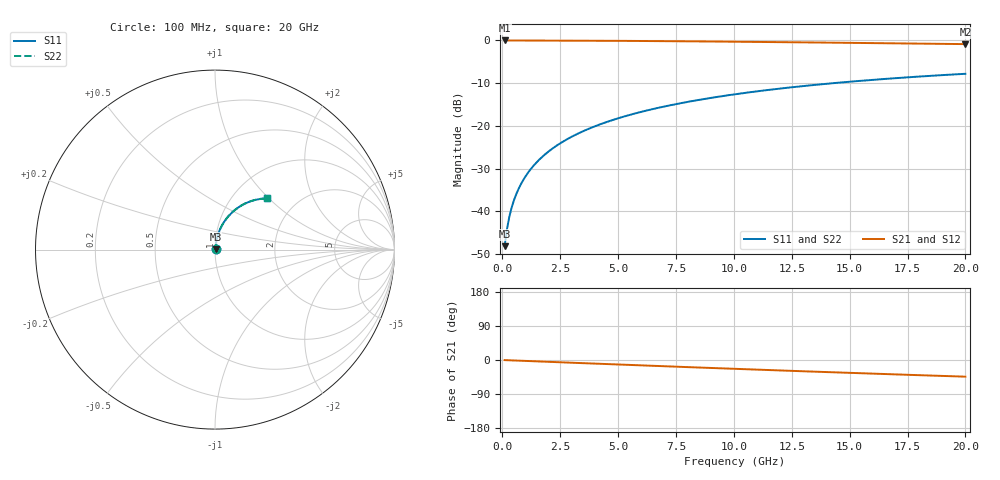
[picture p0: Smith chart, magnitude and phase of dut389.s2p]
! Touchstone file exported from HFSS 2026.1.0
!  File:  C:/ffzhzh/LocalFiles/Ansys_Project_Files/temp_train_TMRDL_389_1783004698_51716.aedt
!  Generated:  11:06:20 PM Jul  2, 2026
!  Design:  TMRDL
!  Project:  temp_train_TMRDL_389_1783004698_51716
! Variables:
!  h_bsmrdl = 2um
!  h_ox = 20um
!  h_rdl = 5um
!  h_sub = 80um
!  h_tmrdl = 3.61um
!  h_tsv = 80um
!  h_via = 3um
!  l_bsmrdl = 300um
!  l_sub = 1033.92um
!  l_tmrdl = 633.92um
!  m_sub = 200um
!  pitch = 54.52um
!  r_tsv = 6um
!  s_tmrdl = 10um
!  w_bsmrdl = 18um
!  w_sub = 500um
!  w_tmrdl = 24.16um
!  x_tsv_center1 = 646um
!  x_tsv_center2 = 964um
!  x_tsv_center3 = 1622.08um
!  x_tsv_center4 = 1940.08um
!  x_tsv_center5 = 2598.16um
!  x_tsv_center6 = 2916.16um
# GHz S MA R 50.000000
! Terminal data exported
! Port[1] = TM_RDL1_1_T1
! Port[2] = TM_RDL1_1_T2
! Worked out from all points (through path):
!   200 points, 100 MHz to 20 GHz, reference 50 ohm
!   highest |S21| = -0.02 dB at 100 MHz (marker M1); lowest = -0.9 dB at 20 GHz (marker M2)
!   group delay of S21, straight-line fit = 6.12 ps
!   lowest |S11| = -48.2 dB at 100 MHz (marker M3), VSWR 1.01, Z = 50.3 + j0.273 ohm
!   |S11| at or under -10 dB: start of sweep to 14.33 GHz
!   |S22| runs from -48.2 to -7.8 dB; largest |S21 - S12| = 2.1e-15
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0.1  0.003902 44.2  0.9972 -0.3  0.9972 -0.3  0.003902 44.2
! Gamma 0 0 0 0
! Port Impedance 50 0 50 0
0.2  0.006131 60.9  0.997 -0.5  0.997 -0.5  0.006131 60.9
0.3  0.00853 68.0  0.9969 -0.7  0.9969 -0.7  0.008529 68.0
0.4  0.01094 71.8  0.9967 -1.0  0.9967 -1.0  0.01094 71.8
0.5  0.01336 74.3  0.9966 -1.2  0.9966 -1.2  0.01336 74.3
0.6  0.01578 76.0  0.9965 -1.5  0.9965 -1.5  0.01578 76.0
0.8  0.02064 78.2  0.9963 -1.9  0.9963 -1.9  0.02064 78.2
1.1  0.02797 79.8  0.996 -2.7  0.996 -2.7  0.02797 79.8
1.5  0.0378 80.6  0.9956 -3.6  0.9956 -3.6  0.0378 80.6
1.8  0.04518 80.7  0.9951 -4.3  0.9951 -4.3  0.04518 80.7
2.1  0.05256 80.6  0.9947 -5.0  0.9947 -5.0  0.05256 80.6
2.7  0.06725 79.9  0.9935 -6.5  0.9935 -6.5  0.06725 79.9
3.5  0.08668 78.6  0.9916 -8.4  0.9916 -8.4  0.08668 78.6
4.2  0.1035 77.2  0.9896 -10.0  0.9896 -10.0  0.1035 77.2
5  0.1224 75.6  0.987 -11.9  0.987 -11.9  0.1224 75.6
5.9  0.1433 73.6  0.9837 -14.0  0.9837 -14.0  0.1433 73.6
6.8  0.1638 71.7  0.98 -16.0  0.98 -16.0  0.1638 71.7
8.3  0.1969 68.4  0.9732 -19.4  0.9732 -19.4  0.1969 68.5
10.1  0.2349 64.6  0.964 -23.5  0.964 -23.5  0.2349 64.6
13.4  0.2993 57.6  0.945 -30.6  0.945 -30.6  0.2993 57.7
16.7  0.3565 51.0  0.9245 -37.4  0.9245 -37.4  0.3564 51.0
20  0.4061 44.6  0.9036 -44.0  0.9036 -44.0  0.4061 44.7
